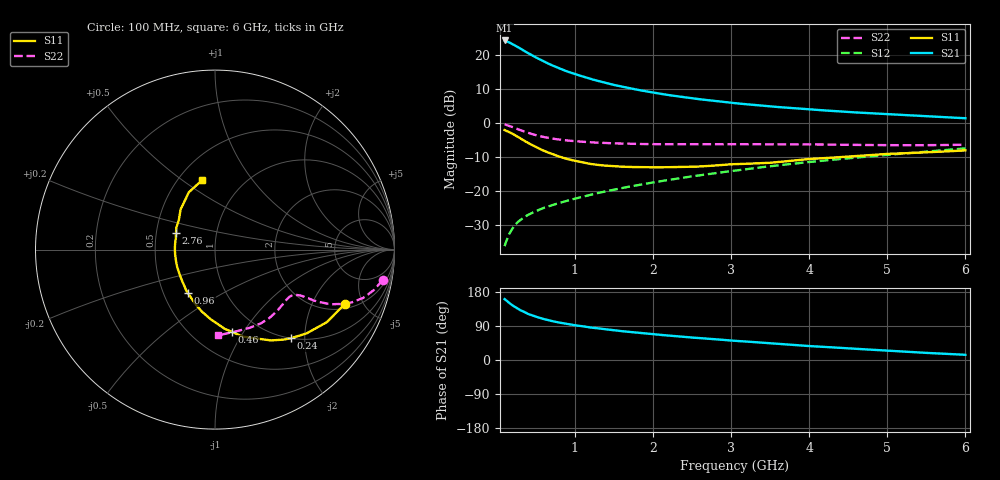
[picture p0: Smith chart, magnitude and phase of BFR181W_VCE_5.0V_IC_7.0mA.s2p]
! Infineon Technologies  Discrete & RF Semiconductors
! BFR181W
! VCE =  5.0 V,  IC =  7.0 mA
! Common Emitter S-Parameters:  Nov 2015
# GHz  S  MA  R  50
!  f  S11  S21  S12  S22
! GHz  MAG  ANG  MAG  ANG  MAG  ANG  MAG  ANG
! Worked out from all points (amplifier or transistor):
!   192 points, 100 MHz to 6 GHz, reference 50 ohm
!   highest |S21| = 24.1 dB at 100 MHz (marker M1)
!   |S21| within 3 dB of that: start of sweep to 347.1 MHz
!   unconditionally stable (mu >= 1): 1.305 GHz to 3.07 GHz
!   at 440 MHz: K = 0.59, MSG = 23.2 dB, |S12| = -26.5 dB
!   at 1.7 GHz: K = 1.04, MAG = 13.2 dB, |S12| = -18.7 dB
!   at 6 GHz: K = 0.80, MSG = 4.4 dB, |S12| = -7.5 dB
!   S11 on the Smith chart (normalised r, x): 100 MHz: 2.29, -3.60; 240 MHz: 1.00, -1.72; 460 MHz: 0.76, -0.89; 960 MHz: 0.66, -0.35; 2.76 GHz: 0.63, +0.12; 6 GHz: 0.65, +0.60
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0.1  0.7844 -22.7  16.09 160.8  0.0156 78.4  0.9503 -10.3
0.15  0.7427 -33.0  15.26 152.0  0.0225 73.5  0.911 -14.5
0.2  0.692 -42.4  14.28 144.3  0.0282 70.2  0.8678 -18.1
0.24  0.6507 -49.3  13.45 138.9  0.0325 67.5  0.8316 -20.2
0.3  0.5949 -58.3  12.25 131.6  0.0376 65.0  0.7825 -22.8
0.4  0.509 -72.3  10.51 121.6  0.0448 62.5  0.7119 -25.3
0.46  0.468 -78.4  9.631 117.4  0.0484 61.6  0.6798 -26.0
0.5  0.444 -83.1  9.076 114.2  0.0508 61.1  0.6584 -26.5
0.6  0.3903 -93.2  7.935 108.1  0.0566 60.7  0.619 -27.3
0.7  0.3529 -102.0  7.002 103.0  0.0618 61.3  0.59 -27.5
0.8  0.3205 -110.4  6.281 98.7  0.0669 61.8  0.5678 -27.9
0.96  0.2845 -122.2  5.365 93.0  0.0754 62.8  0.5434 -28.2
1.1  0.2622 -131.4  4.775 88.9  0.0829 63.5  0.5279 -28.7
1.2  0.2498 -138.4  4.388 85.8  0.0885 64.0  0.5176 -29.1
1.5  0.2323 -155.3  3.59 78.4  0.1049 65.3  0.5001 -30.6
1.8  0.2248 -169.8  3.049 72.0  0.1222 66.1  0.4902 -32.6
2.08  0.2236 178.9  2.683 66.6  0.1386 66.6  0.4865 -35.0
2.76  0.2355 157.2  2.11 55.4  0.1808 66.4  0.4853 -41.9
3.1  0.249 148.8  1.914 50.0  0.2031 65.8  0.4863 -46.0
4.1  0.2995 128.6  1.547 35.7  0.2736 62.3  0.4819 -59.6
5.1  0.3539 113.1  1.324 23.4  0.3469 57.6  0.4707 -74.6
6  0.3943 100.4  1.168 13.7  0.4225 52.8  0.4781 -87.7
